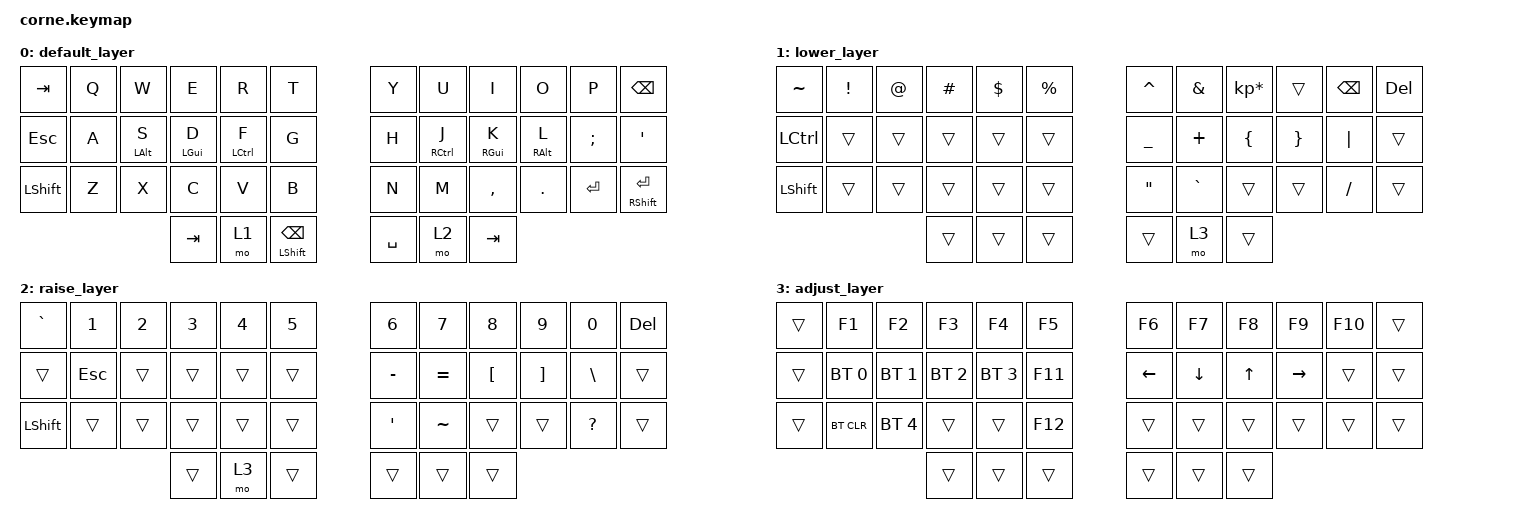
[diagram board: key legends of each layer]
/*
 * Copyright (c) 2020 The ZMK Contributors
 *
 * SPDX-License-Identifier: MIT
 */

#include <behaviors.dtsi>
#include <dt-bindings/zmk/keys.h>
#include <dt-bindings/zmk/bt.h>

/ {
        behaviors {
            hm: homerow_mods {
                compatible = "zmk,behavior-hold-tap";
                label = "HOMEROW_MODS";
                #binding-cells = <2>;
                tapping-term-ms = <200>;
                quick-tap-ms = <0>;
                flavor = "tap-preferred";
                bindings = <&kp>, <&kp>;
            };
        };

        keymap {
                compatible = "zmk,keymap";

                default_layer {
// -----------------------------------------------------------------------------------------
// |  TAB |  Q  |  W  |  E  |  R  |  T  |   |  Y  |  U   |  I  |  O  |  P  | BKSP |
// |  ESC |  A  |  S  |  D  |  F  |  G  |   |  H  |  J   |  K  |  L  |  ;  |  '   |
// | SHFT |  Z  |  X  |  C  |  V  |  B  |   |  N  |  M   |  ,  |  .  |  /  | ENT  |
//                    | TAB | LWR | SHFT |   | SPC | RSE  | TAB |
                        bindings = <
   &kp TAB   &kp Q &kp W      &kp E      &kp R       &kp T   &kp Y &kp U        &kp I          &kp O        &kp P    &kp BSPC
   &kp ESC   &kp A &hm LALT S &hm LGUI D &hm LCTRL F &kp G   &kp H &hm RCTRL J  &hm RGUI K     &hm RALT L   &kp SEMI &kp SQT
   &kp LSHFT &kp Z &kp X      &kp C      &kp V       &kp B   &kp N &kp M        &kp COMMA      &kp DOT      &kp RET  &hm RSHFT RET
                             &kp TAB  &mo 1 &mt LSHFT BSPC   &kp SPACE &mo 2 &kp TAB
                        >;
                };
                
                lower_layer {
// -----------------------------------------------------------------------------------------
// |  ~   |  !  |  @  |  #  |  $  |  %  |   |  ^  |  &  |  *  |     |     |  DEL |
// | CTRL |     |     |     |     |     |   |  _  |  +  |  {  |  }  |  |  |      |
// | SHFT |     |     |     |     |     |   |  "  |  `  |     |     |  /  |      |
//                    | TAB | LWR | SHFT |   | SPC | RSE  | TAB |
                        bindings = <
   &kp TILDE &kp EXCL &kp AT &kp HASH &kp DLLR &kp PRCNT   &kp CARET &kp AMPS  &kp KP_MULTIPLY &trans    &kp BSPC  &kp DEL
   &kp LCTRL &trans   &trans &trans   &trans   &trans      &kp UNDER &kp PLUS  &kp LBRC        &kp RBRC  &kp PIPE  &trans
   &kp LSHFT &trans   &trans &trans   &trans   &trans      &kp DQT   &kp GRAVE &trans          &trans    &kp FSLH  &trans
                    	     &trans   &trans   &trans      &trans   &mo 3     &trans
                        >;
                };
                
                raise_layer {
// -----------------------------------------------------------------------------------------
// |  `   |  1  |  2  |  3  |  4  |  5  |   |  6  |  7  |  8  |  9  |  0  |  DEL |
// |      | ESC |     |     |     |     |   |  -  |  =  |  [  |  ]  |  \  |      |
// | SHFT |     |     |     |     |     |   |  '  |  ~  |     |     |  ?  |      |
//                    | GUI |     | SPC |   | ENT | ADJ | ALT |
                        bindings = <
   &kp GRAVE  &kp N1       &kp N2       &kp N3       &kp N4       &kp N5         &kp N6    &kp N7    &kp N8    &kp N9    &kp N0     &kp DEL
   &trans     &kp ESC      &trans       &trans       &trans       &trans         &kp MINUS &kp EQUAL &kp LBKT  &kp RBKT  &kp BSLH   &trans
   &kp LSHFT  &trans       &trans       &trans       &trans       &trans         &kp SQT   &kp TILDE &trans    &trans    &kp QMARK  &trans
                          	        &trans       &mo 3        &trans         &trans   &trans    &trans
                        >;
                };
                
                adjust_layer {
// -----------------------------------------------------------------------------------------
// |      |  F1  |  F2  |  F3  |  F4  |  F5 |   |  F6 |  F7  |  F8 |  F9 | F10 |     |
// |      |  BT 0| BT 1 | BT 2 | BT 3 | F11 |   | LEFT| DOWN |  UP | LEFT|     |     |
// |      |BTCLR | BT 4 |      |      | F12 |   |     |      |     |     |     |     |
//                      |      |      |     |   |     |      |     |
                        bindings = <
     &trans     &kp F1       &kp F2        &kp F3       &kp F4       &kp F5      &kp F6   &kp F7   &kp F8 &kp F9    &kp F10 &trans
     &trans     &bt BT_SEL 0 &bt BT_SEL 1  &bt BT_SEL 2 &bt BT_SEL 3 &kp F11     &kp LEFT &kp DOWN &kp UP &kp RIGHT &trans  &trans
     &trans     &bt BT_CLR   &bt BT_SEL 4  &trans       &trans       &kp F12     &trans   &trans   &trans &trans    &trans  &trans
                    	                            &trans   &trans   &trans     &trans  &trans   &trans
                        >;
                };
        };
};
